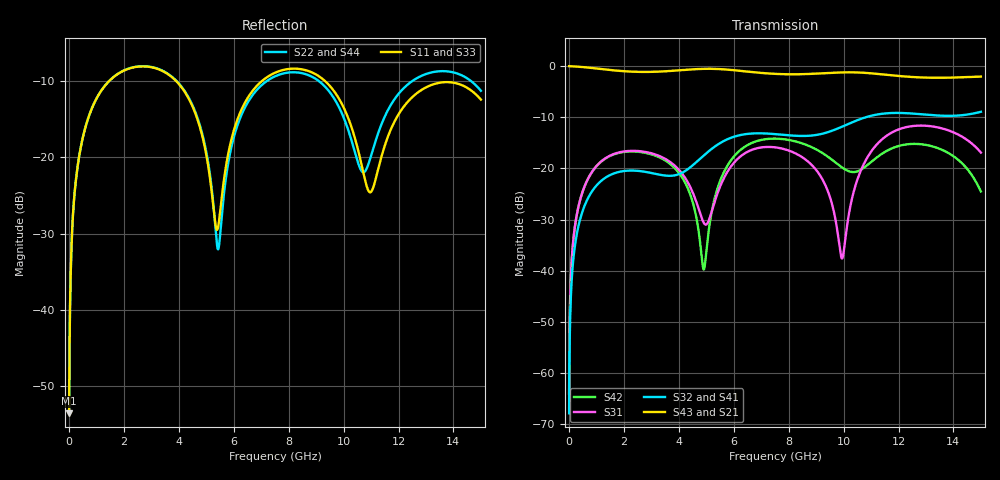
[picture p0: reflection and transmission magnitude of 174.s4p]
! Created with skrf 1.8.0 (http://scikit-rf.org).
# GHz S RI R 50.0
!freq ReS11 ImS11 ReS12 ImS12 ReS13 ImS13
! ReS14 ImS14
! ReS21 ImS21 ReS22 ImS22 ReS23 ImS23
! ReS24 ImS24
! ReS31 ImS31 ReS32 ImS32 ReS33 ImS33
! ReS34 ImS34
! ReS41 ImS41 ReS42 ImS42 ReS43 ImS43
! ReS44 ImS44
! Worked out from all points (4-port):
!   2499 points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, 5 MHz to 15 GHz, reference 50 ohm
!   strongest paths, dB at 5 MHz, 3.476 GHz, 7.19 GHz, 11.1 GHz, 15 GHz:
!     S43: 0.0, -1.0, -1.4, -1.5, -2.1
!     S21: 0.0, -1.0, -1.4, -1.5, -2.1
!     S32: -67.8, -21.4, -13.2, -9.6, -8.9
!     S41: -67.8, -21.4, -13.2, -9.6, -8.9
!     S31: -64.0, -18.0, -15.8, -16.0, -16.9
!     S42: -64.0, -18.3, -14.3, -18.3, -24.5
!   lowest |S11| = -53.6 dB at 5 MHz (marker M1), VSWR 1.00, Z = 50.2 + j0.127 ohm
!   |S11| at or under -10 dB: start of sweep to 1.454 GHz; 3.912 GHz to 7.016 GHz (3.104 GHz wide, 56.8 % of centre); 9.334 GHz to end of sweep
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0.005  0.00166 0.00127  0.9983 -0.00323  8.23e-05 0.000625  -8.01e-05 -0.000397
       0.9983 -0.00323  0.00166 0.00127  -8.01e-05 -0.000397  8.23e-05 0.000625
       8.23e-05 0.000625  -8.01e-05 -0.000397  0.00166 0.00127  0.9983 -0.00323
       -8.01e-05 -0.000397  8.23e-05 0.000625  0.9983 -0.00323  0.00166 0.00127
0.3126303  0.0245 0.0833  0.9666 -0.201  0.0109 0.037  -0.00902 -0.0233
           0.9666 -0.201  0.0246 0.0833  -0.00902 -0.0233  0.0106 0.0371
           0.0109 0.037  -0.00902 -0.0233  0.0245 0.0833  0.9666 -0.201
           -0.00902 -0.0233  0.0106 0.0371  0.9666 -0.201  0.0246 0.0833
1.569404  0.2787 0.1781  0.5326 -0.7402  0.1254 0.0531  -0.0879 -0.00383
          0.5326 -0.7402  0.2798 0.1774  -0.0879 -0.00383  0.1223 0.0574
          0.1254 0.0531  -0.0879 -0.00383  0.2787 0.1781  0.5326 -0.7402
          -0.0879 -0.00383  0.1223 0.0574  0.5326 -0.7402  0.2798 0.1774
5.258441  0.0349 -0.0322  -0.929 -0.1432  -0.0257 0.0344  -0.0212 0.1584
          -0.929 -0.1432  0.0271 -0.0409  -0.0214 0.1584  0.0172 0.0418
          -0.0257 0.0344  -0.0214 0.1584  0.0342 -0.0321  -0.929 -0.1433
          -0.0212 0.1584  0.0172 0.0418  -0.929 -0.1433  0.0277 -0.0406
8.372238  0.3787 -0.0449  0.00553 0.8321  0.1276 -0.0435  0.1985 -0.0605
          0.00553 0.8321  0.3597 -0.0229  0.1989 -0.0607  0.129 -0.1254
          0.1276 -0.0435  0.1989 -0.0607  0.3781 -0.0422  0.00511 0.8324
          0.1985 -0.0605  0.129 -0.1254  0.00511 0.8324  0.3589 -0.0252
11.12964  0.0649 0.0201  0.8437 -0.028  0.102 0.1258  -0.0269 -0.3323
          0.8437 -0.028  0.1011 0.0691  -0.0275 -0.3317  -0.0279 0.12
          0.102 0.1258  -0.0275 -0.3317  0.0687 0.0198  0.8439 -0.027
          -0.0269 -0.3323  -0.0279 0.12  0.8439 -0.027  0.0966 0.0692
15  0.2179 -0.1003  -0.4233 -0.664  -0.0185 -0.1418  -0.2892 0.2109
    -0.4233 -0.664  0.2211 -0.1617  -0.2891 0.2105  -0.00222 -0.0595
    -0.0185 -0.1418  -0.2891 0.2105  0.2125 -0.0944  -0.4247 -0.6657
    -0.2892 0.2109  -0.00222 -0.0595  -0.4247 -0.6657  0.2132 -0.1582
